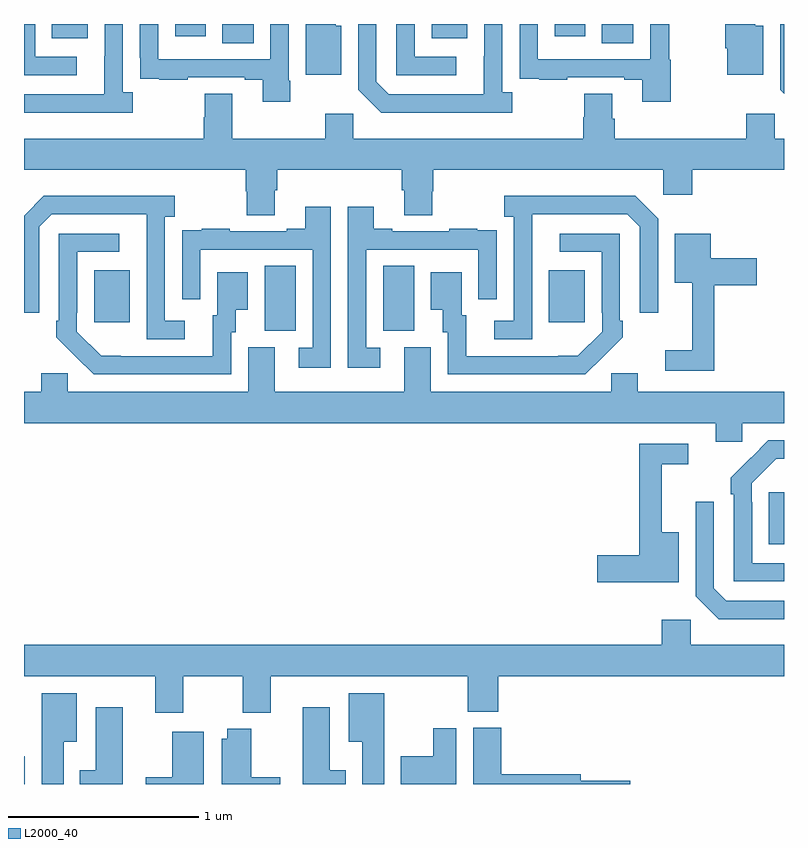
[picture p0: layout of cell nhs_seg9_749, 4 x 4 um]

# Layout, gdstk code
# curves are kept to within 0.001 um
import gdstk
lib = gdstk.Library(unit=1e-6, precision=1e-09)
def R(c, l, rs):  # rectangles x0, y0, x1, y1
    for r in rs: c.add(gdstk.rectangle(r[:2], r[2:], *l))
def P(c, l, *ps):  # polygons
    for p in ps: c.add(gdstk.Polygon(p, *l))
L2000_40 = (2000, 40)

nhs_seg9_749 = lib.new_cell('nhs_seg9_749')
R(nhs_seg9_749, L2000_40, [(149,1214.5,149.005,1214.647), (152.921,1215.761,153,1216.036), (150.266,1216.885,150.43,1217.228), (150.89,1216.885,151.054,1217.228), (149.369,1216.929,149.557,1217.203), (151.763,1216.929,151.951,1217.203), (150.044,1218.4,150.208,1218.5), (152.042,1218.4,152.206,1218.5), (149.147,1218.425,149.335,1218.5), (151.145,1218.425,151.333,1218.5), (149.795,1218.435,149.956,1218.5), (151.793,1218.435,151.954,1218.5)])
P(nhs_seg9_749, L2000_40, [(152.89,1218.49),(152.848,1218.49),(152.848,1218.5),(152.69,1218.5),(152.69,1218.372),(152.702,1218.372),(152.702,1218.233),(152.89,1218.233)],
  [(149.278,1218.327),(149.058,1218.327),(149.058,1218.5),(149,1218.5),(149,1218.231),(149.278,1218.231)],
  [(151.57,1218.142),(151.518,1218.142),(151.518,1218.5),(151.422,1218.5),(151.421,1218.129),(150.921,1218.129),(150.855,1218.195),(150.855,1218.5),(150.759,1218.5),(150.759,1218.153),(150.88,1218.032),(151.57,1218.032)],
  [(151.276,1218.327),(151.056,1218.327),(151.056,1218.5),(150.96,1218.5),(150.96,1218.231),(151.276,1218.231)],
  [(153,1218.5),(152.979,1218.5),(152.979,1218.153),(153,1218.132)],
  [(152.405,1218.312),(152.396,1218.312),(152.396,1218.5),(152.295,1218.5),(152.295,1218.315),(151.704,1218.315),(151.704,1218.5),(151.608,1218.5),(151.608,1218.322),(151.609,1218.322),(151.609,1218.213),(151.711,1218.213),(151.711,1218.207),(151.859,1218.207),(151.859,1218.219),(152.159,1218.219),(152.159,1218.207),(152.255,1218.207),(152.255,1218.09),(152.405,1218.09)],
  [(149.572,1218.142),(149.52,1218.142),(149.52,1218.5),(149.424,1218.5),(149.424,1218.329),(149.423,1218.329),(149.423,1218.129),(149,1218.129),(149,1218.032),(149.572,1218.032)],
  [(150.402,1218.202),(150.393,1218.202),(150.393,1218.5),(150.297,1218.5),(150.297,1218.315),(149.706,1218.315),(149.706,1218.5),(149.61,1218.5),(149.61,1218.322),(149.611,1218.322),(149.611,1218.213),(149.713,1218.213),(149.713,1218.207),(149.861,1218.207),(149.861,1218.219),(150.161,1218.219),(150.161,1218.207),(150.257,1218.207),(150.257,1218.09),(150.402,1218.09)],
  [(150.67,1218.49),(150.64,1218.49),(150.64,1218.5),(150.483,1218.5),(150.483,1218.473),(150.482,1218.473),(150.482,1218.233),(150.67,1218.233)],
  [(150.319,1217.626),(150.332,1217.626),(150.332,1217.732),(150.989,1217.732),(150.989,1217.626),(151.001,1217.626),(151.001,1217.494),(151.149,1217.494),(151.149,1217.619),(151.154,1217.619),(151.154,1217.732),(152.364,1217.732),(152.364,1217.601),(152.516,1217.601),(152.516,1217.732),(153,1217.732),(153,1217.896),(152.952,1217.896),(152.952,1218.028),(152.801,1218.028),(152.801,1217.896),(152.108,1217.896),(152.108,1218.002),(152.095,1218.002),(152.095,1218.134),(151.948,1218.134),(151.948,1218.009),(151.943,1218.009),(151.943,1217.896),(150.732,1217.896),(150.732,1218.028),(150.586,1218.028),(150.586,1217.896),(150.097,1217.896),(150.097,1218.134),(149.95,1218.134),(149.95,1218.009),(149.945,1218.009),(149.945,1217.896),(149,1217.896),(149,1217.732),(150.167,1217.732),(150.167,1217.619),(150.172,1217.619),(150.172,1217.494),(150.319,1217.494)],
  [(149.845,1216.938),(149.742,1216.938),(149.742,1217.486),(149.794,1217.486),(149.794,1217.596),(149.104,1217.596),(149,1217.492),(149,1216.98),(149.079,1216.98),(149.079,1217.433),(149.145,1217.499),(149.645,1217.499),(149.646,1216.842),(149.845,1216.842)],
  [(151.674,1217.299),(151.675,1217.499),(152.175,1217.499),(152.241,1217.433),(152.241,1216.98),(152.337,1216.98),(152.337,1217.475),(152.216,1217.596),(151.527,1217.596),(151.527,1217.486),(151.578,1217.486),(151.578,1216.938),(151.476,1216.938),(151.476,1216.842),(151.674,1216.842)],
  [(150.615,1217.539),(150.479,1217.539),(150.479,1217.422),(150.383,1217.422),(150.383,1217.409),(150.083,1217.409),(150.083,1217.422),(149.935,1217.422),(149.935,1217.415),(149.833,1217.415),(149.833,1217.306),(149.832,1217.306),(149.832,1217.052),(149.928,1217.052),(149.928,1217.313),(150.519,1217.313),(150.519,1216.797),(150.447,1216.797),(150.447,1216.692),(150.615,1216.692)],
  [(150.874,1216.797),(150.801,1216.797),(150.801,1217.313),(151.392,1217.313),(151.392,1217.052),(151.488,1217.052),(151.488,1217.306),(151.487,1217.306),(151.487,1217.415),(151.385,1217.415),(151.385,1217.422),(151.237,1217.422),(151.237,1217.409),(150.937,1217.409),(150.937,1217.422),(150.841,1217.422),(150.841,1217.539),(150.705,1217.539),(150.705,1216.692),(150.874,1216.692)],
  [(152.045,1216.747),(152.046,1216.746),(152.151,1216.851),(152.151,1216.939),(152.136,1216.939),(152.136,1217.397),(151.821,1217.397),(151.821,1217.301),(152.04,1217.301),(152.04,1216.981),(152.043,1216.981),(152.043,1216.881),(151.915,1216.753),(151.327,1216.752),(151.327,1216.968),(151.303,1216.968),(151.303,1217.194),(151.142,1217.194),(151.142,1216.997),(151.205,1216.997),(151.205,1216.878),(151.23,1216.878),(151.23,1216.656),(151.954,1216.656)],
  [(150.09,1216.878),(150.115,1216.878),(150.115,1216.997),(150.178,1216.997),(150.178,1217.194),(150.017,1217.194),(150.017,1216.968),(149.993,1216.968),(149.993,1216.752),(149.406,1216.753),(149.277,1216.881),(149.277,1216.981),(149.28,1216.981),(149.28,1217.301),(149.5,1217.301),(149.5,1217.397),(149.184,1217.397),(149.184,1216.939),(149.169,1216.939),(149.169,1216.851),(149.366,1216.656),(150.09,1216.656)],
  [(152.633,1217.126),(152.857,1217.126),(152.857,1217.268),(152.614,1217.268),(152.614,1217.395),(152.426,1217.395),(152.426,1217.138),(152.516,1217.138),(152.516,1216.783),(152.376,1216.783),(152.376,1216.674),(152.633,1216.674)],
  [(150.179,1216.8),(150.179,1216.564),(149.229,1216.564),(149.229,1216.662),(149.09,1216.662),(149.09,1216.564),(149,1216.564),(149,1216.4),(152.642,1216.4),(152.642,1216.302),(152.781,1216.302),(152.781,1216.4),(153,1216.4),(153,1216.564),(152.23,1216.564),(152.23,1216.662),(152.091,1216.662),(152.091,1216.564),(151.141,1216.564),(151.141,1216.8),(151.001,1216.8),(151.001,1216.564),(150.319,1216.564),(150.319,1216.8)],
  [(153,1215.663),(152.832,1215.663),(152.832,1215.983),(152.829,1215.983),(152.829,1216.083),(152.958,1216.212),(153,1216.212),(153,1216.308),(152.918,1216.308),(152.721,1216.113),(152.721,1216.025),(152.736,1216.025),(152.736,1215.567),(153,1215.567)],
  [(152.446,1215.826),(152.357,1215.826),(152.357,1216.182),(152.497,1216.182),(152.497,1216.29),(152.239,1216.29),(152.239,1215.704),(152.016,1215.704),(152.016,1215.562),(152.446,1215.562)],
  [(153,1215.465),(152.697,1215.465),(152.631,1215.531),(152.631,1215.985),(152.535,1215.985),(152.535,1215.489),(152.656,1215.368),(153,1215.368)],
  [(149.838,1215.068),(150.151,1215.068),(150.151,1214.876),(150.298,1214.876),(150.298,1215.068),(151.336,1215.068),(151.336,1214.881),(151.496,1214.881),(151.496,1215.068),(153,1215.068),(153,1215.232),(152.508,1215.232),(152.508,1215.364),(152.357,1215.364),(152.357,1215.232),(149,1215.232),(149,1215.068),(149.69,1215.068),(149.69,1214.874),(149.838,1214.874)],
  [(149.209,1214.723),(149.278,1214.723),(149.278,1214.977),(149.093,1214.977),(149.093,1214.5),(149.209,1214.5)],
  [(150.895,1214.977),(150.71,1214.977),(150.71,1214.723),(150.779,1214.723),(150.779,1214.5),(150.895,1214.5)],
  [(149.521,1214.905),(149.378,1214.905),(149.378,1214.572),(149.294,1214.572),(149.294,1214.5),(149.521,1214.5)],
  [(150.694,1214.572),(150.61,1214.572),(150.61,1214.905),(150.467,1214.905),(150.467,1214.5),(150.694,1214.5)],
  [(152.191,1214.516),(151.93,1214.516),(151.93,1214.552),(151.511,1214.552),(151.511,1214.796),(151.364,1214.796),(151.364,1214.5),(152.191,1214.5)],
  [(151.276,1214.794),(151.154,1214.794),(151.154,1214.647),(150.983,1214.647),(150.983,1214.5),(151.276,1214.5)],
  [(150.349,1214.535),(150.196,1214.535),(150.196,1214.791),(150.071,1214.791),(150.071,1214.737),(150.041,1214.737),(150.041,1214.5),(150.349,1214.5)],
  [(149.947,1214.776),(149.78,1214.776),(149.78,1214.535),(149.64,1214.535),(149.64,1214.5),(149.947,1214.5)])

lib.write_gds('nhs_seg9_749.gds')
